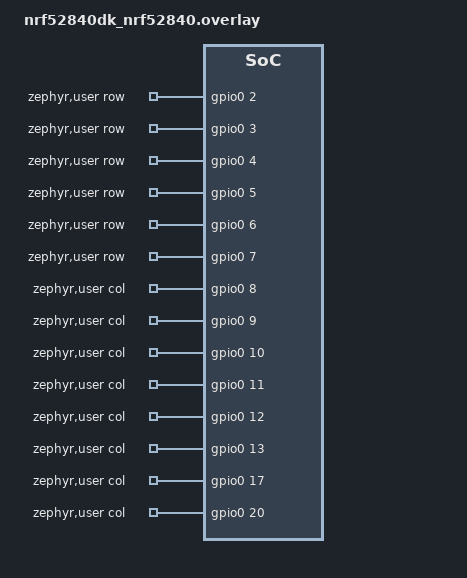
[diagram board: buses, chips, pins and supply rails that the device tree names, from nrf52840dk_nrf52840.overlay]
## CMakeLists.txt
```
cmake_minimum_required(VERSION 3.20.0)

find_package(Zephyr REQUIRED HINTS $ENV{ZEPHYR_BASE})

project(chaox75_keyboard)

target_sources(app PRIVATE
    src/main.c
    src/matrix.c
    src/usb_hid.c
    src/keycode.c
)

target_include_directories(app PRIVATE include)
```

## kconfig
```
mainmenu "CHAOX-75 Keyboard"

config CHAOX75_USB_VID
    hex "CHAOX-75 USB Vendor ID"
    default 0x2fe3

config CHAOX75_USB_PID
    hex "CHAOX-75 USB Product ID"
    default 0x0075

config CHAOX75_USB_MANUFACTURER
    string "USB manufacturer"
    default "CHAOX-75"

config CHAOX75_USB_PRODUCT
    string "USB product name"
    default "CHAOX-75 Keyboard"

config CHAOX75_USB_MAX_POWER
    int "USB maximum power in 2 mA units"
    range 0 250
    default 125

source "Kconfig.zephyr"
```

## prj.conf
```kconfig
CONFIG_GPIO=y

CONFIG_LOG=y
CONFIG_LOG_DEFAULT_LEVEL=3

CONFIG_USB_DEVICE_STACK_NEXT=y
CONFIG_USBD_HID_SUPPORT=y

CONFIG_SERIAL=y
CONFIG_CONSOLE=y
CONFIG_UART_CONSOLE=y
CONFIG_BUILD_OUTPUT_UF2=y
CONFIG_FLASH_LOAD_OFFSET=0x1000
```

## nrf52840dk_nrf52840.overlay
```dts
/ {
    zephyr,user {
        row-gpios =
            <&gpio0 2 0>,
            <&gpio0 3 0>,
            <&gpio0 4 0>,
            <&gpio0 5 0>,
            <&gpio0 6 0>,
            <&gpio0 7 0>;

        col-gpios =
            <&gpio0 8 0>,
            <&gpio0 9 0>,
            <&gpio0 10 0>,
            <&gpio0 11 0>,
            <&gpio0 12 0>,
            <&gpio0 13 0>,
            <&gpio0 17 0>,
            <&gpio0 20 0>,
            <&gpio0 22 0>,
            <&gpio0 23 0>,
            <&gpio0 24 0>,
            <&gpio0 25 0>,
            <&gpio1 0 0>,
            <&gpio1 1 0>,
            <&gpio1 2 0>;
    };

};

/ {
    hid_dev_0: hid_dev_0 {
        compatible = "zephyr,hid-device";
        label = "HID0";
        protocol-code = "keyboard";
        in-report-size = <64>;
        in-polling-period-us = <1000>;
    };
};
```

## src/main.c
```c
#include <stdbool.h>

#include <zephyr/kernel.h>
#include <zephyr/logging/log.h>

#include "keymap.h"
#include "matrix.h"
#include "usb_hid.h"

LOG_MODULE_REGISTER(chaox75, LOG_LEVEL_INF);

#define SCAN_INTERVAL_MS 5

int main(void)
{
    bool current_state[MATRIX_ROWS][MATRIX_COLS] = {0};

    LOG_INF("CHAOX-75 keyboard starting");

    int ret = chaox75_matrix_init();

    if (ret < 0) {
        LOG_ERR("Matrix initialization failed: %d", ret);
        return ret;
    }

    LOG_INF("Matrix initialized: %d rows, %d columns",
            MATRIX_ROWS, MATRIX_COLS);

    ret = chaox75_usb_hid_init();

    if (ret < 0) {
        LOG_ERR("USB HID initialization failed: %d", ret);
        return ret;
    }

    LOG_INF("CHAOX-75 keyboard ready");

    while (true) {
        ret = chaox75_matrix_scan(current_state);

        if (ret == 0) {
            chaox75_matrix_process(current_state);
        } else {
            LOG_ERR("Matrix scan failed: %d", ret);
        }

        k_sleep(K_MSEC(SCAN_INTERVAL_MS));
    }

    return 0;
}
```

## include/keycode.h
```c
#ifndef CHAOX75_KEYCODE_H
#define CHAOX75_KEYCODE_H

#include <stdint.h>

uint8_t chaox75_keycode_to_hid(uint8_t keycode);

#endif /* CHAOX75_KEYCODE_H */
```

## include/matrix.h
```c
#ifndef CHAOX75_MATRIX_H
#define CHAOX75_MATRIX_H

#include <stdbool.h>
#include <stdint.h>

#define MATRIX_ROWS 6
#define MATRIX_COLS 15

int chaox75_matrix_init(void);

int chaox75_matrix_scan(
    bool current_state[MATRIX_ROWS][MATRIX_COLS]);

void chaox75_matrix_process(
    const bool current_state[MATRIX_ROWS][MATRIX_COLS]);

#endif /* CHAOX75_MATRIX_H */
```

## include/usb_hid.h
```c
#ifndef CHAOX75_USB_HID_H
#define CHAOX75_USB_HID_H

#include <stdbool.h>
#include <stdint.h>

int chaox75_usb_hid_init(void);
int chaox75_usb_hid_send_key(uint8_t keycode, bool pressed);
int chaox75_usb_hid_send_media(uint8_t keycode, bool pressed);

#endif /* CHAOX75_USB_HID_H */
```

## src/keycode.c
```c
#include <stdint.h>

#include "keymap.h"

uint8_t chaox75_keycode_to_hid(uint8_t keycode)
{
    switch (keycode) {
    case KEY_ESC:            return 0x29;
    case KEY_1:              return 0x1E;
    case KEY_2:              return 0x1F;
    case KEY_3:              return 0x20;
    case KEY_4:              return 0x21;
    case KEY_5:              return 0x22;
    case KEY_6:              return 0x23;
    case KEY_7:              return 0x24;
    case KEY_8:              return 0x25;
    case KEY_9:              return 0x26;
    case KEY_0:              return 0x27;
    case KEY_MINUS:          return 0x2D;
    case KEY_EQUAL:          return 0x2E;
    case KEY_BACKSPACE:      return 0x2A;
    case KEY_TAB:            return 0x2B;
    case KEY_Q:              return 0x14;
    case KEY_W:              return 0x1A;
    case KEY_E:              return 0x08;
    case KEY_R:              return 0x15;
    case KEY_T:              return 0x17;
    case KEY_Y:              return 0x1C;
    case KEY_U:              return 0x18;
    case KEY_I:              return 0x0C;
    case KEY_O:              return 0x12;
    case KEY_P:              return 0x13;
    case KEY_LEFT_BRACKET:   return 0x2F;
    case KEY_RIGHT_BRACKET:  return 0x30;
    case KEY_BACKSLASH:      return 0x31;
    case KEY_CAPS_LOCK:      return 0x39;
    case KEY_A:              return 0x04;
    case KEY_S:              return 0x16;
    case KEY_D:              return 0x07;
    case KEY_F:              return 0x09;
    case KEY_G:              return 0x0A;
    case KEY_H:              return 0x0B;
    case KEY_J:              return 0x0D;
    case KEY_K:              return 0x0E;
    case KEY_L:              return 0x0F;
    case KEY_SEMICOLON:      return 0x33;
    case KEY_APOSTROPHE:     return 0x34;
    case KEY_ENTER:          return 0x28;
    case KEY_SHIFT:          return 0xE1;
    case KEY_RIGHT_SHIFT:    return 0xE5;
    case KEY_Z:              return 0x1D;
    case KEY_X:              return 0x1B;
    case KEY_C:              return 0x06;
    case KEY_V:              return 0x19;
    case KEY_B:              return 0x05;
    case KEY_N:              return 0x11;
    case KEY_M:              return 0x10;
    case KEY_COMMA:          return 0x36;
    case KEY_PERIOD:         return 0x37;
    case KEY_SLASH:          return 0x38;
    case KEY_CTRL:           return 0xE0;
    case KEY_GUI:            return 0xE3;
    case KEY_ALT:            return 0xE2;
    case KEY_SPACE:          return 0x2C;
    case KEY_LEFT:           return 0x50;
    case KEY_DOWN:           return 0x51;
    case KEY_UP:             return 0x52;
    case KEY_RIGHT:          return 0x4F;
    case KEY_HOME:           return 0x4A;
    case KEY_END:            return 0x4D;
    case KEY_PAGE_UP:        return 0x4B;
    case KEY_PAGE_DOWN:      return 0x4E;
    case KEY_DELETE:         return 0x4C;
    case KEY_INSERT:         return 0x49;
    case KEY_F1:             return 0x3A;
    case KEY_F2:             return 0x3B;
    case KEY_F3:             return 0x3C;
    case KEY_F4:             return 0x3D;
    case KEY_F5:             return 0x3E;
    case KEY_F6:             return 0x3F;
    case KEY_F7:             return 0x40;
    case KEY_F8:             return 0x41;
    case KEY_F9:             return 0x42;
    case KEY_F10:            return 0x43;
    case KEY_F11:            return 0x44;
    case KEY_F12:            return 0x45;
    case KEY_NONE:
    case KEY_FN:
    case KEY_MEDIA_PLAY_PAUSE:
    case KEY_MEDIA_NEXT:
    case KEY_MEDIA_PREVIOUS:
    case KEY_MEDIA_MUTE:
    case KEY_MEDIA_VOLUME_UP:
    case KEY_MEDIA_VOLUME_DOWN:
    default:
        return 0;
    }
}
```

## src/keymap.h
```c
#ifndef CHAOX75_KEYMAP_H
#define CHAOX75_KEYMAP_H

#include <stdint.h>

#define MATRIX_ROWS 6
#define MATRIX_COLS 15

enum chaox75_keycode {
    KEY_NONE = 0,
    KEY_ESC,
    KEY_1, KEY_2, KEY_3, KEY_4, KEY_5, KEY_6, KEY_7, KEY_8, KEY_9, KEY_0,
    KEY_MINUS, KEY_EQUAL, KEY_BACKSPACE,
    KEY_TAB, KEY_Q, KEY_W, KEY_E, KEY_R, KEY_T, KEY_Y, KEY_U, KEY_I, KEY_O, KEY_P,
    KEY_LEFT_BRACKET, KEY_RIGHT_BRACKET, KEY_BACKSLASH,
    KEY_CAPS_LOCK, KEY_A, KEY_S, KEY_D, KEY_F, KEY_G, KEY_H, KEY_J, KEY_K, KEY_L,
    KEY_SEMICOLON, KEY_APOSTROPHE, KEY_ENTER,
    KEY_SHIFT, KEY_Z, KEY_X, KEY_C, KEY_V, KEY_B, KEY_N, KEY_M,
    KEY_COMMA, KEY_PERIOD, KEY_SLASH, KEY_RIGHT_SHIFT,
    KEY_CTRL, KEY_GUI, KEY_ALT, KEY_SPACE, KEY_FN,
    KEY_LEFT, KEY_DOWN, KEY_UP, KEY_RIGHT,
    KEY_HOME, KEY_END, KEY_PAGE_UP, KEY_PAGE_DOWN, KEY_DELETE, KEY_INSERT,
    KEY_F1, KEY_F2, KEY_F3, KEY_F4, KEY_F5, KEY_F6,
    KEY_F7, KEY_F8, KEY_F9, KEY_F10, KEY_F11, KEY_F12,
    KEY_MEDIA_PLAY_PAUSE, KEY_MEDIA_NEXT, KEY_MEDIA_PREVIOUS,
    KEY_MEDIA_MUTE, KEY_MEDIA_VOLUME_UP, KEY_MEDIA_VOLUME_DOWN
};

/*
 * Logical matrix layout. This is a starter layout, not a claim that switch
 * reference numbers map to these coordinates. Verify physical positions
 * against the PCB/netlist before flashing a board.
 */
static const uint8_t keymap[MATRIX_ROWS][MATRIX_COLS] = {
    { KEY_ESC, KEY_1, KEY_2, KEY_3, KEY_4, KEY_5, KEY_6, KEY_7, KEY_8, KEY_9, KEY_0, KEY_MINUS, KEY_EQUAL, KEY_BACKSPACE, KEY_NONE },
    { KEY_TAB, KEY_Q, KEY_W, KEY_E, KEY_R, KEY_T, KEY_Y, KEY_U, KEY_I, KEY_O, KEY_P, KEY_LEFT_BRACKET, KEY_RIGHT_BRACKET, KEY_BACKSLASH, KEY_NONE },
    { KEY_CAPS_LOCK, KEY_A, KEY_S, KEY_D, KEY_F, KEY_G, KEY_H, KEY_J, KEY_K, KEY_L, KEY_SEMICOLON, KEY_APOSTROPHE, KEY_ENTER, KEY_NONE, KEY_NONE },
    { KEY_SHIFT, KEY_Z, KEY_X, KEY_C, KEY_V, KEY_B, KEY_N, KEY_M, KEY_COMMA, KEY_PERIOD, KEY_SLASH, KEY_RIGHT_SHIFT, KEY_NONE, KEY_NONE, KEY_NONE },
    { KEY_CTRL, KEY_GUI, KEY_ALT, KEY_SPACE, KEY_FN, KEY_ALT, KEY_GUI, KEY_CTRL, KEY_NONE, KEY_NONE, KEY_NONE, KEY_NONE, KEY_NONE, KEY_NONE, KEY_NONE },
    { KEY_NONE, KEY_NONE, KEY_NONE, KEY_NONE, KEY_NONE, KEY_NONE, KEY_NONE, KEY_NONE, KEY_NONE, KEY_NONE, KEY_NONE, KEY_NONE, KEY_NONE, KEY_NONE, KEY_NONE },
};

#endif /* CHAOX75_KEYMAP_H */
```

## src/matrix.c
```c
#include <errno.h>
#include <stdbool.h>
#include <stdint.h>

#include <zephyr/device.h>
#include <zephyr/devicetree.h>
#include <zephyr/drivers/gpio.h>
#include <zephyr/kernel.h>
#include <zephyr/logging/log.h>

#include "keycode.h"
#include "keymap.h"
#include "matrix.h"
#include "usb_hid.h"

LOG_MODULE_REGISTER(chaox75_matrix, LOG_LEVEL_INF);

#define MATRIX_NODE DT_PATH(zephyr_user)

#define DEBOUNCE_MS 10

static const struct gpio_dt_spec row_pins[MATRIX_ROWS] = {
    GPIO_DT_SPEC_GET_BY_IDX(MATRIX_NODE, row_gpios, 0),
    GPIO_DT_SPEC_GET_BY_IDX(MATRIX_NODE, row_gpios, 1),
    GPIO_DT_SPEC_GET_BY_IDX(MATRIX_NODE, row_gpios, 2),
    GPIO_DT_SPEC_GET_BY_IDX(MATRIX_NODE, row_gpios, 3),
    GPIO_DT_SPEC_GET_BY_IDX(MATRIX_NODE, row_gpios, 4),
    GPIO_DT_SPEC_GET_BY_IDX(MATRIX_NODE, row_gpios, 5),
};

static const struct gpio_dt_spec col_pins[MATRIX_COLS] = {
    GPIO_DT_SPEC_GET_BY_IDX(MATRIX_NODE, col_gpios, 0),
    GPIO_DT_SPEC_GET_BY_IDX(MATRIX_NODE, col_gpios, 1),
    GPIO_DT_SPEC_GET_BY_IDX(MATRIX_NODE, col_gpios, 2),
    GPIO_DT_SPEC_GET_BY_IDX(MATRIX_NODE, col_gpios, 3),
    GPIO_DT_SPEC_GET_BY_IDX(MATRIX_NODE, col_gpios, 4),
    GPIO_DT_SPEC_GET_BY_IDX(MATRIX_NODE, col_gpios, 5),
    GPIO_DT_SPEC_GET_BY_IDX(MATRIX_NODE, col_gpios, 6),
    GPIO_DT_SPEC_GET_BY_IDX(MATRIX_NODE, col_gpios, 7),
    GPIO_DT_SPEC_GET_BY_IDX(MATRIX_NODE, col_gpios, 8),
    GPIO_DT_SPEC_GET_BY_IDX(MATRIX_NODE, col_gpios, 9),
    GPIO_DT_SPEC_GET_BY_IDX(MATRIX_NODE, col_gpios, 10),
    GPIO_DT_SPEC_GET_BY_IDX(MATRIX_NODE, col_gpios, 11),
    GPIO_DT_SPEC_GET_BY_IDX(MATRIX_NODE, col_gpios, 12),
    GPIO_DT_SPEC_GET_BY_IDX(MATRIX_NODE, col_gpios, 13),
    GPIO_DT_SPEC_GET_BY_IDX(MATRIX_NODE, col_gpios, 14),
};

struct key_state {
    bool raw;
    bool stable;
    bool reported;
    int64_t raw_changed_at;
    uint8_t active_code;
};

static struct key_state keys[MATRIX_ROWS][MATRIX_COLS];

static bool is_media_key(uint8_t code)
{
    return code == KEY_MEDIA_PLAY_PAUSE ||
           code == KEY_MEDIA_NEXT ||
           code == KEY_MEDIA_PREVIOUS ||
           code == KEY_MEDIA_MUTE ||
           code == KEY_MEDIA_VOLUME_UP ||
           code == KEY_MEDIA_VOLUME_DOWN;
}

int chaox75_matrix_init(void)
{
    for (int row = 0; row < MATRIX_ROWS; row++) {
        if (!gpio_is_ready_dt(&row_pins[row])) {
            LOG_ERR("Row %d GPIO controller is not ready", row);
            return -ENODEV;
        }

        int ret = gpio_pin_configure_dt(
            &row_pins[row], GPIO_OUTPUT_INACTIVE);

        if (ret < 0) {
            LOG_ERR("Failed to configure row %d: %d", row, ret);
            return ret;
        }
    }

    for (int col = 0; col < MATRIX_COLS; col++) {
        if (!gpio_is_ready_dt(&col_pins[col])) {
            LOG_ERR("Column %d GPIO controller is not ready", col);
            return -ENODEV;
        }

        int ret = gpio_pin_configure_dt(
            &col_pins[col], GPIO_INPUT | GPIO_PULL_DOWN);

        if (ret < 0) {
            LOG_ERR("Failed to configure column %d: %d", col, ret);
            return ret;
        }
    }

    return 0;
}

int chaox75_matrix_scan(
    bool current_state[MATRIX_ROWS][MATRIX_COLS])
{
    for (int row = 0; row < MATRIX_ROWS; row++) {
        int ret = gpio_pin_set_dt(&row_pins[row], 1);

        if (ret < 0) {
            LOG_ERR("Failed to activate row %d: %d", row, ret);
            return ret;
        }

        k_busy_wait(10);

        for (int col = 0; col < MATRIX_COLS; col++) {
            int value = gpio_pin_get_dt(&col_pins[col]);

            if (value < 0) {
                (void)gpio_pin_set_dt(&row_pins[row], 0);
                LOG_ERR("Failed to read column %d: %d", col, value);
                return value;
            }

            current_state[row][col] = (value != 0);
        }

        ret = gpio_pin_set_dt(&row_pins[row], 0);

        if (ret < 0) {
            LOG_ERR("Failed to deactivate row %d: %d", row, ret);
            return ret;
        }
    }

    return 0;
}

void chaox75_matrix_process(
    const bool current_state[MATRIX_ROWS][MATRIX_COLS])
{
    int64_t now = k_uptime_get();
    bool fn_active = false;

    /* Pass 1: Update debounced states for all switches. */
    for (int row = 0; row < MATRIX_ROWS; row++) {
        for (int col = 0; col < MATRIX_COLS; col++) {
            struct key_state *key = &keys[row][col];
            bool reading = current_state[row][col];

            if (reading != key->raw) {
                key->raw = reading;
                key->raw_changed_at = now;
            }

            if (key->stable != key->raw &&
                now - key->raw_changed_at >= DEBOUNCE_MS) {
                key->stable = key->raw;
            }

            if (key->stable && keymap[row][col] == KEY_FN) {
                fn_active = true;
            }
        }
    }

    /* Pass 2: Process transitions using the current Fn state. */
    for (int row = 0; row < MATRIX_ROWS; row++) {
        for (int col = 0; col < MATRIX_COLS; col++) {
            struct key_state *key = &keys[row][col];

            if (key->stable == key->reported) {
                continue;
            }

            key->reported = key->stable;

            uint8_t base_code = keymap[row][col];

            /* Fn is a layer switch, not a USB keyboard key. */
            if (base_code == KEY_NONE || base_code == KEY_FN) {
                continue;
            }

            if (key->stable) {
                uint8_t code = base_code;

                if (fn_active) {
                    switch (base_code) {
                    case KEY_W:         code = KEY_UP;        break;
                    case KEY_A:         code = KEY_LEFT;      break;
                    case KEY_S:         code = KEY_DOWN;      break;
                    case KEY_D:         code = KEY_RIGHT;     break;
                    case KEY_1:         code = KEY_F1;        break;
                    case KEY_2:         code = KEY_F2;        break;
                    case KEY_3:         code = KEY_F3;        break;
                    case KEY_4:         code = KEY_F4;        break;
                    case KEY_5:         code = KEY_F5;        break;
                    case KEY_6:         code = KEY_F6;        break;
                    case KEY_7:         code = KEY_F7;        break;
                    case KEY_8:         code = KEY_F8;        break;
                    case KEY_9:         code = KEY_F9;        break;
                    case KEY_0:         code = KEY_F10;       break;
                    case KEY_Q:         code = KEY_HOME;      break;
                    case KEY_E:         code = KEY_END;       break;
                    case KEY_R:         code = KEY_PAGE_UP;   break;
                    case KEY_F:         code = KEY_PAGE_DOWN; break;
                    case KEY_BACKSPACE: code = KEY_DELETE;    break;
                    case KEY_TAB:       code = KEY_INSERT;    break;
                    case KEY_Z:         code = KEY_MEDIA_PLAY_PAUSE;  break;
                    case KEY_X:         code = KEY_MEDIA_PREVIOUS;    break;
                    case KEY_C:         code = KEY_MEDIA_NEXT;        break;
                    case KEY_V:         code = KEY_MEDIA_MUTE;        break;
                    case KEY_G:         code = KEY_MEDIA_VOLUME_DOWN; break;
                    case KEY_B:         code = KEY_MEDIA_VOLUME_UP;   break;
                    default: break;
                    }
                }

                key->active_code = code;

                int ret = is_media_key(code)
                    ? chaox75_usb_hid_send_media(code, true)
                    : chaox75_usb_hid_send_key(code, true);

                if (ret < 0) {
                    LOG_ERR("Key press failed at R%d C%d: %d",
                            row, col, ret);
                }

                LOG_INF("Key R%d C%d code %u pressed",
                        row, col, (unsigned int)code);
            } else {
                uint8_t code = key->active_code;

                if (code != KEY_NONE) {
                    int ret = is_media_key(code)
                        ? chaox75_usb_hid_send_media(code, false)
                        : chaox75_usb_hid_send_key(code, false);

                    if (ret < 0) {
                        LOG_ERR("Key release failed at R%d C%d: %d",
                                row, col, ret);
                    }

                    LOG_INF("Key R%d C%d code %u released",
                            row, col, (unsigned int)code);
                }

                key->active_code = KEY_NONE;
            }
        }
    }
}
```

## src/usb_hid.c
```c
#include <errno.h>
#include <stdbool.h>
#include <stdint.h>

#include <zephyr/device.h>
#include <zephyr/usb/usbd.h>
#include <zephyr/usb/class/usbd_hid.h>
#include <zephyr/logging/log.h>

#include "keycode.h"
#include "keymap.h"
#include "usb_hid.h"

LOG_MODULE_REGISTER(chaox75_usb, LOG_LEVEL_INF);

#define USB_CONFIG_ATTRIBUTES 0
#define USB_MAX_POWER_UNITS   125

#define KEYBOARD_REPORT_ID    1
#define CONSUMER_REPORT_ID    2

#define KEYBOARD_REPORT_SIZE  9
#define CONSUMER_REPORT_SIZE  2

enum {
    HID_MODIFIER_CTRL  = 1U << 0,
    HID_MODIFIER_SHIFT = 1U << 1,
    HID_MODIFIER_ALT   = 1U << 2,
    HID_MODIFIER_GUI   = 1U << 3,
    HID_MODIFIER_RIGHT_SHIFT = 1U << 5,
};

enum {
    REPORT_ID = 0,
    REPORT_MODIFIER,
    REPORT_RESERVED,
    REPORT_KEY_1,
    REPORT_KEY_2,
    REPORT_KEY_3,
    REPORT_KEY_4,
    REPORT_KEY_5,
    REPORT_KEY_6,
};

enum {
    MEDIA_PLAY_PAUSE = 1U << 0,
    MEDIA_NEXT       = 1U << 1,
    MEDIA_PREVIOUS   = 1U << 2,
    MEDIA_MUTE       = 1U << 3,
    MEDIA_VOLUME_UP  = 1U << 4,
    MEDIA_VOLUME_DOWN = 1U << 5,
};

static const uint8_t hid_report_desc[] = {
    /* Keyboard report: report ID 1. */
    0x05, 0x01,       /* Usage Page (Generic Desktop) */
    0x09, 0x06,       /* Usage (Keyboard) */
    0xA1, 0x01,       /* Collection (Application) */
    0x85, KEYBOARD_REPORT_ID,

    0x05, 0x07,       /* Usage Page (Keyboard/Keypad) */
    0x19, 0xE0,       /* Usage Minimum (Left Control) */
    0x29, 0xE7,       /* Usage Maximum (Right GUI) */
    0x15, 0x00,       /* Logical Minimum (0) */
    0x25, 0x01,       /* Logical Maximum (1) */
    0x75, 0x01,       /* Report Size (1) */
    0x95, 0x08,       /* Report Count (8) */
    0x81, 0x02,       /* Input (Data, Variable, Absolute) */

    0x75, 0x08,       /* Report Size (8) */
    0x95, 0x01,       /* Report Count (1) */
    0x81, 0x01,       /* Input (Constant) */

    0x05, 0x08,       /* Usage Page (LEDs) */
    0x19, 0x01,       /* Usage Minimum (Num Lock) */
    0x29, 0x05,       /* Usage Maximum (Kana) */
    0x75, 0x01,       /* Report Size (1) */
    0x95, 0x05,       /* Report Count (5) */
    0x91, 0x02,       /* Output (Data, Variable, Absolute) */
    0x75, 0x03,       /* Report Size (3) */
    0x95, 0x01,       /* Report Count (1) */
    0x91, 0x01,       /* Output (Constant) */

    0x05, 0x07,       /* Usage Page (Keyboard/Keypad) */
    0x19, 0x00,       /* Usage Minimum (Reserved) */
    0x29, 0x65,       /* Usage Maximum (Keyboard Application) */
    0x15, 0x00,       /* Logical Minimum (0) */
    0x25, 0x65,       /* Logical Maximum (101) */
    0x75, 0x08,       /* Report Size (8) */
    0x95, 0x06,       /* Report Count (6) */
    0x81, 0x00,       /* Input (Data, Array, Absolute) */
    0xC0,             /* End Collection */

    /* Consumer Control report: report ID 2. */
    0x05, 0x0C,       /* Usage Page (Consumer) */
    0x09, 0x01,       /* Usage (Consumer Control) */
    0xA1, 0x01,       /* Collection (Application) */
    0x85, CONSUMER_REPORT_ID,

    0x09, 0xCD,       /* Usage (Play/Pause) */
    0x09, 0xB5,       /* Usage (Scan Next Track) */
    0x09, 0xB6,       /* Usage (Scan Previous Track) */
    0x09, 0xE2,       /* Usage (Mute) */
    0x09, 0xE9,       /* Usage (Volume Increment) */
    0x09, 0xEA,       /* Usage (Volume Decrement) */

    0x15, 0x00,       /* Logical Minimum (0) */
    0x25, 0x01,       /* Logical Maximum (1) */
    0x75, 0x01,       /* Report Size (1) */
    0x95, 0x06,       /* Report Count (6) */
    0x81, 0x02,       /* Input (Data, Variable, Absolute) */

    0x75, 0x02,       /* Report Size (2) */
    0x95, 0x01,       /* Report Count (1) */
    0x81, 0x01,       /* Input (Constant padding) */
    0xC0,             /* End Collection */
};

UDC_STATIC_BUF_DEFINE(keyboard_report, KEYBOARD_REPORT_SIZE);
UDC_STATIC_BUF_DEFINE(consumer_report, CONSUMER_REPORT_SIZE);

USBD_DEVICE_DEFINE(
    chaox75_usbd,
    DEVICE_DT_GET(DT_NODELABEL(zephyr_udc0)),
    CONFIG_CHAOX75_USB_VID,
    CONFIG_CHAOX75_USB_PID
);

USBD_DESC_LANG_DEFINE(chaox75_lang);
USBD_DESC_MANUFACTURER_DEFINE(
    chaox75_mfr,
    CONFIG_CHAOX75_USB_MANUFACTURER
);
USBD_DESC_PRODUCT_DEFINE(
    chaox75_product,
    CONFIG_CHAOX75_USB_PRODUCT
);
USBD_DESC_CONFIG_DEFINE(
    chaox75_cfg_desc,
    "CHAOX-75 Configuration"
);

USBD_CONFIGURATION_DEFINE(
    chaox75_fs_config,
    USB_CONFIG_ATTRIBUTES,
    USB_MAX_POWER_UNITS,
    &chaox75_cfg_desc
);

static const struct device *hid_device;
static struct usbd_context *usb_context = &chaox75_usbd;
static bool hid_ready;

static void hid_iface_ready(const struct device *dev, bool ready)
{
    ARG_UNUSED(dev);

    hid_ready = ready;
    LOG_INF("USB HID interface %s", ready ? "ready" : "not ready");
}

static int hid_get_report(const struct device *dev,
                          uint8_t type,
                          uint8_t id,
                          uint16_t len,
                          uint8_t *buf)
{
    ARG_UNUSED(dev);
    ARG_UNUSED(type);
    ARG_UNUSED(id);
    ARG_UNUSED(len);
    ARG_UNUSED(buf);

    return -ENOTSUP;
}

static int hid_set_report(const struct device *dev,
                          uint8_t type,
                          uint8_t id,
                          uint16_t len,
                          const uint8_t *buf)
{
    ARG_UNUSED(dev);
    ARG_UNUSED(type);
    ARG_UNUSED(id);
    ARG_UNUSED(len);
    ARG_UNUSED(buf);

    return -ENOTSUP;
}

static void hid_set_idle(const struct device *dev,
                         uint8_t id,
                         uint32_t duration)
{
    ARG_UNUSED(dev);
    ARG_UNUSED(id);
    ARG_UNUSED(duration);
}

static uint32_t hid_get_idle(const struct device *dev, uint8_t id)
{
    ARG_UNUSED(dev);
    ARG_UNUSED(id);

    return 0;
}

static void hid_set_protocol(const struct device *dev, uint8_t protocol)
{
    ARG_UNUSED(dev);
    ARG_UNUSED(protocol);
}

static void hid_output_report(const struct device *dev,
                              uint16_t len,
                              const uint8_t *buf)
{
    ARG_UNUSED(dev);
    ARG_UNUSED(len);
    ARG_UNUSED(buf);
}

static const struct hid_device_ops hid_ops = {
    .iface_ready = hid_iface_ready,
    .get_report = hid_get_report,
    .set_report = hid_set_report,
    .set_idle = hid_set_idle,
    .get_idle = hid_get_idle,
    .set_protocol = hid_set_protocol,
    .output_report = hid_output_report,
};

static void usb_message_callback(struct usbd_context *ctx,
                                 const struct usbd_msg *msg)
{
    LOG_INF("USB message: %s", usbd_msg_type_string(msg->type));

    if (!usbd_can_detect_vbus(ctx)) {
        return;
    }

    if (msg->type == USBD_MSG_VBUS_READY) {
        int ret = usbd_enable(ctx);

        if (ret < 0) {
            LOG_ERR("Failed to enable USB: %d", ret);
        }
    } else if (msg->type == USBD_MSG_VBUS_REMOVED) {
        int ret = usbd_disable(ctx);

        if (ret < 0) {
            LOG_ERR("Failed to disable USB: %d", ret);
        }

        hid_ready = false;
    }
}

static int usb_add_descriptor(struct usbd_desc_node *desc)
{
    int ret = usbd_add_descriptor(usb_context, desc);

    if (ret < 0) {
        LOG_ERR("Failed to add USB descriptor: %d", ret);
    }

    return ret;
}

int chaox75_usb_hid_init(void)
{
    int ret;

    keyboard_report[REPORT_ID] = KEYBOARD_REPORT_ID;
    consumer_report[0] = CONSUMER_REPORT_ID;

    hid_device = DEVICE_DT_GET_ONE(zephyr_hid_device);

    if (!device_is_ready(hid_device)) {
        LOG_ERR("USB HID device is not ready");
        return -ENODEV;
    }

    ret = hid_device_register(hid_device,
                              hid_report_desc,
                              sizeof(hid_report_desc),
                              &hid_ops);
    if (ret < 0) {
        LOG_ERR("Failed to register HID device: %d", ret);
        return ret;
    }

    ret = usb_add_descriptor(&chaox75_lang);
    if (ret < 0) {
        return ret;
    }

    ret = usb_add_descriptor(&chaox75_mfr);
    if (ret < 0) {
        return ret;
    }

    ret = usb_add_descriptor(&chaox75_product);
    if (ret < 0) {
        return ret;
    }

    ret = usbd_add_configuration(usb_context,
                                 USBD_SPEED_FS,
                                 &chaox75_fs_config);
    if (ret < 0) {
        LOG_ERR("Failed to add USB configuration: %d", ret);
        return ret;
    }

    static const char *const class_blocklist[] = {
        "dfu_dfu",
        NULL,
    };

    ret = usbd_register_all_classes(usb_context,
                                    USBD_SPEED_FS,
                                    1,
                                    class_blocklist);
    if (ret < 0) {
        LOG_ERR("Failed to register USB classes: %d", ret);
        return ret;
    }

    usbd_self_powered(usb_context, false);

    ret = usbd_msg_register_cb(usb_context, usb_message_callback);
    if (ret < 0) {
        LOG_ERR("Failed to register USB callback: %d", ret);
        return ret;
    }

    ret = usbd_init(usb_context);
    if (ret < 0) {
        LOG_ERR("Failed to initialize USB device: %d", ret);
        return ret;
    }

    if (!usbd_can_detect_vbus(usb_context)) {
        ret = usbd_enable(usb_context);
        if (ret < 0) {
            LOG_ERR("Failed to enable USB device: %d", ret);
            return ret;
        }
    }

    LOG_INF("CHAOX-75 USB HID initialized");
    return 0;
}

static int submit_keyboard_report(void)
{
    return hid_device_submit_report(hid_device,
                                    KEYBOARD_REPORT_SIZE,
                                    keyboard_report);
}

static int submit_consumer_report(void)
{
    return hid_device_submit_report(hid_device,
                                    CONSUMER_REPORT_SIZE,
                                    consumer_report);
}

int chaox75_usb_hid_send_key(uint8_t keycode, bool pressed)
{
    if (!hid_ready) {
        return -EAGAIN;
    }

    if (keycode == KEY_NONE || keycode == KEY_FN) {
        return -EINVAL;
    }

    uint8_t modifier = 0;
    switch (keycode) {
    case KEY_CTRL:        modifier = HID_MODIFIER_CTRL; break;
    case KEY_SHIFT:       modifier = HID_MODIFIER_SHIFT; break;
    case KEY_ALT:         modifier = HID_MODIFIER_ALT; break;
    case KEY_GUI:         modifier = HID_MODIFIER_GUI; break;
    case KEY_RIGHT_SHIFT: modifier = HID_MODIFIER_RIGHT_SHIFT; break;
    default: break;
    }

    if (modifier != 0) {
        if (pressed) {
            keyboard_report[REPORT_MODIFIER] |= modifier;
        } else {
            keyboard_report[REPORT_MODIFIER] &= (uint8_t)~modifier;
        }
        return submit_keyboard_report();
    }

    uint8_t usage_code = chaox75_keycode_to_hid(keycode);

    if (usage_code == 0) {
        return -EINVAL;
    }

    if (pressed) {
        for (int i = REPORT_KEY_1; i <= REPORT_KEY_6; i++) {
            if (keyboard_report[i] == usage_code) {
                return submit_keyboard_report();
            }
        }

        for (int i = REPORT_KEY_1; i <= REPORT_KEY_6; i++) {
            if (keyboard_report[i] == 0) {
                keyboard_report[i] = usage_code;
                return submit_keyboard_report();
            }
        }

        return -ENOSPC;
    }

    for (int i = REPORT_KEY_1; i <= REPORT_KEY_6; i++) {
        if (keyboard_report[i] == usage_code) {
            keyboard_report[i] = 0;
            break;
        }
    }

    return submit_keyboard_report();
}

int chaox75_usb_hid_send_media(uint8_t keycode, bool pressed)
{
    if (!hid_ready) {
        return -EAGAIN;
    }

    uint8_t mask;

    switch (keycode) {
    case KEY_MEDIA_PLAY_PAUSE:
        mask = MEDIA_PLAY_PAUSE;
        break;
    case KEY_MEDIA_NEXT:
        mask = MEDIA_NEXT;
        break;
    case KEY_MEDIA_PREVIOUS:
        mask = MEDIA_PREVIOUS;
        break;
    case KEY_MEDIA_MUTE:
        mask = MEDIA_MUTE;
        break;
    case KEY_MEDIA_VOLUME_UP:
        mask = MEDIA_VOLUME_UP;
        break;
    case KEY_MEDIA_VOLUME_DOWN:
        mask = MEDIA_VOLUME_DOWN;
        break;
    default:
        return -EINVAL;
    }

    if (pressed) {
        consumer_report[1] |= mask;
    } else {
        consumer_report[1] &= (uint8_t)~mask;
    }

    return submit_consumer_report();
}
```
